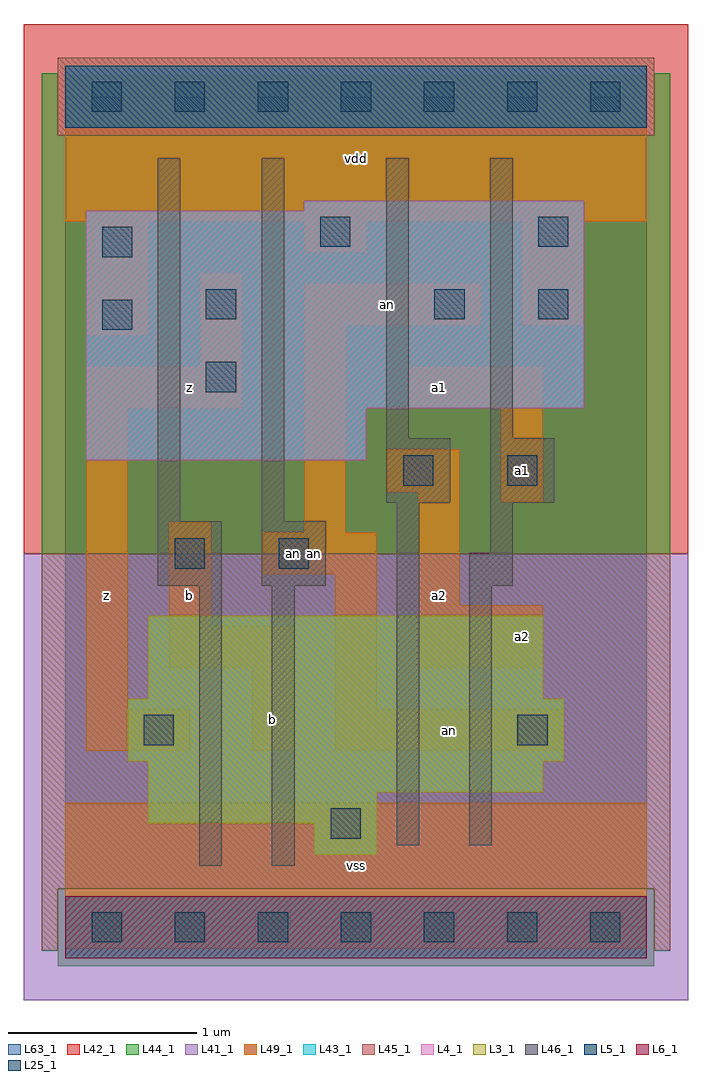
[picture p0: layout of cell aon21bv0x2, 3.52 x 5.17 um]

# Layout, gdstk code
import gdstk
lib = gdstk.Library(unit=1e-6, precision=1e-09)
def R(c, l, rs):  # rectangles x0, y0, x1, y1
    for r in rs: c.add(gdstk.rectangle(r[:2], r[2:], *l))
def A(c, l, x, y, w, h, nx, ny, dx, dy):  # array of equal rectangles
    R(c, l, [(x+i*dx, y+j*dy, x+i*dx+w, y+j*dy+h) for i in range(nx) for j in range(ny)])
L3_1 = (3, 1)
L4_1 = (4, 1)
L5_1 = (5, 1)
L6_1 = (6, 1)
L25_1 = (25, 1)
L41_1 = (41, 1)
L42_1 = (42, 1)
L43_1 = (43, 1)
L44_1 = (44, 1)
L45_1 = (45, 1)
L46_1 = (46, 1)
L49_1 = (49, 1)
L63_1 = (63, 1)

aon21bv0x2 = lib.new_cell('aon21bv0x2')
R(aon21bv0x2, L3_1, [(1.32,0.385,1.65,0.55), (0.44,0.55,1.65,0.715), (0.44,0.715,2.53,0.88), (0.33,0.88,2.64,1.21), (0.44,1.21,2.53,1.65)])
R(aon21bv0x2, L4_1, [(0.11,2.475,1.595,2.75), (0.11,2.75,2.75,3.795), (1.265,3.795,2.75,3.85)])
R(aon21bv0x2, L5_1, [(0,4.235,3.08,4.565)])
R(aon21bv0x2, L6_1, [(0,-0.165,3.08,0.165)])
A(aon21bv0x2, L25_1, 0.14, -0.08, 0.16, 0.16, 7, 2, 0.44, 4.4)
R(aon21bv0x2, L25_1, [(1.405,0.47,1.565,0.63), (0.415,0.965,0.575,1.125), (2.395,0.965,2.555,1.125), (0.58,1.9,0.74,2.06), (1.13,1.9,1.29,2.06), (1.79,2.34,1.95,2.5), (2.34,2.34,2.5,2.5), (0.745,2.835,0.905,2.995), (0.195,3.165,0.355,3.325), (0.745,3.22,0.905,3.38), (1.955,3.22,2.115,3.38), (2.505,3.22,2.665,3.38), (0.195,3.55,0.355,3.71), (1.35,3.605,1.51,3.765), (2.505,3.605,2.665,3.765)])
R(aon21bv0x2, L41_1, [(-0.22,-0.385,3.3,1.98)])
R(aon21bv0x2, L42_1, [(-0.22,1.98,3.3,4.785)])
R(aon21bv0x2, L43_1, [(0,-0.165,3.08,0.165), (1.32,0.385,1.65,0.55), (0.44,0.55,1.65,0.715), (0.44,0.715,2.53,0.88), (0.33,0.88,2.64,1.21), (0.44,1.21,2.53,1.65), (0.11,2.475,1.595,2.75), (0.11,2.75,2.75,3.795), (1.265,3.795,2.75,3.85), (0,4.235,3.08,4.565)])
R(aon21bv0x2, L44_1, [(-0.04,-0.205,3.12,0.205), (-0.125,1.98,3.205,4.195), (-0.125,4.195,-0.04,4.525), (3.12,4.195,3.205,4.525)])
R(aon21bv0x2, L45_1, [(-0.125,-0.125,-0.04,0.205), (3.12,-0.125,3.205,0.205), (-0.125,0.205,3.205,1.98), (-0.04,4.195,3.12,4.605)])
R(aon21bv0x2, L46_1, [(0.71,0.325,0.83,1.81), (1.095,0.325,1.215,1.81), (1.755,0.435,1.875,2.25), (2.14,0.435,2.26,1.81), (0.49,1.81,0.83,2.15), (1.04,1.81,1.38,2.15), (2.14,1.81,2.37,1.985), (2.25,1.985,2.37,2.25), (0.49,2.15,0.61,4.075), (1.04,2.15,1.16,4.075), (1.7,2.25,2.04,2.59), (2.25,2.25,2.59,2.59), (1.7,2.59,1.82,4.075), (2.25,2.59,2.37,4.075)])
R(aon21bv0x2, L49_1, [(0,-0.11,3.08,0.66), (0.11,0.935,0.66,1.155), (0.99,0.935,1.21,1.375), (1.43,0.935,2.64,1.155), (0.11,1.155,0.33,2.75), (1.43,1.155,1.65,1.87), (0.55,1.375,1.21,1.595), (1.87,1.375,2.53,1.705), (0.55,1.595,0.77,2.145), (1.87,1.705,2.09,2.31), (1.045,1.87,1.65,2.09), (1.265,2.09,1.485,3.19), (2.31,2.255,2.53,2.75), (1.705,2.31,2.09,2.53), (0.11,2.75,0.935,2.97), (1.815,2.75,2.53,2.97), (0.715,2.97,0.935,3.465), (0.11,3.135,0.44,3.74), (1.265,3.19,2.2,3.41), (2.42,3.19,2.75,3.74), (1.265,3.575,1.595,3.74), (0,3.74,3.08,4.51)])
R(aon21bv0x2, L63_1, [(0,0,3.08,4.4)])
aon21bv0x2.add(gdstk.Label('an', (1.21,1.98), layer=49, texttype=1))
aon21bv0x2.add(gdstk.Label('z', (0.22,1.76), layer=49, texttype=1))
aon21bv0x2.add(gdstk.Label('b', (1.1,1.1), layer=49, texttype=1))
aon21bv0x2.add(gdstk.Label('b', (0.66,1.76), layer=49, texttype=1))
aon21bv0x2.add(gdstk.Label('z', (0.66,2.86), layer=49, texttype=1))
aon21bv0x2.add(gdstk.Label('vss', (1.54,0.33), layer=49, texttype=1))
aon21bv0x2.add(gdstk.Label('an', (1.32,1.98), layer=49, texttype=1))
aon21bv0x2.add(gdstk.Label('a2', (1.98,1.76), layer=49, texttype=1))
aon21bv0x2.add(gdstk.Label('a1', (1.98,2.86), layer=49, texttype=1))
aon21bv0x2.add(gdstk.Label('an', (1.705,3.3), layer=49, texttype=1))
aon21bv0x2.add(gdstk.Label('vdd', (1.54,4.07), layer=49, texttype=1))
aon21bv0x2.add(gdstk.Label('an', (2.035,1.045), layer=49, texttype=1))
aon21bv0x2.add(gdstk.Label('a2', (2.42,1.54), layer=49, texttype=1))
aon21bv0x2.add(gdstk.Label('a1', (2.42,2.42), layer=49, texttype=1))

lib.write_gds('aon21bv0x2.gds')
